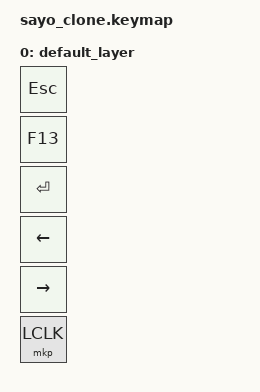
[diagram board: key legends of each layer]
/ {
    keymap {
        compatible = "zmk,keymap";

        default_layer {
            bindings = <
                &kp ESC
                &kp F13
                &kp ENTER
                &kp LEFT
                &kp RIGHT
                &mkp LCLK
            >;
        };
    };
};
